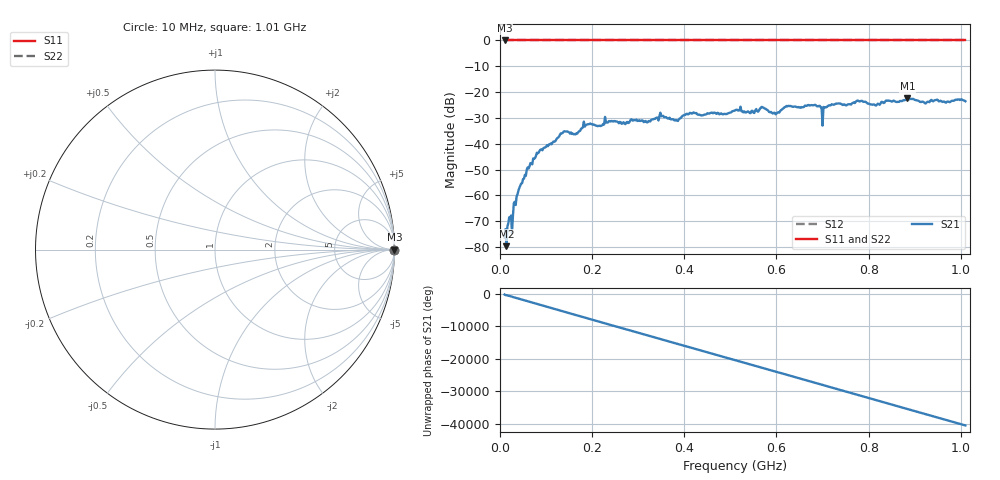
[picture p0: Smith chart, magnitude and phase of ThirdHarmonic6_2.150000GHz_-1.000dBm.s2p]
! 8/17/2025 1:40:35 AM
! C:\ANRITSUVNA\TEMP\TEMP.S2P
! CHANNEL.1
! TR.MEASUREMENT
! RAW.DATA
! RF.CORRECTION.OFF
! AVERAGING.OFF
! IF.BANDWIDTH: 5KHZ
! SWEEPTYPE:  FREQ.SWEEP(Linear)
! Reference Plane Port Info
! PORT:  PORT1  PORT2
! DISTANCE:  0  m  0  m
! TIME:  0  s  0  s
! PHASE.OFFSET:  0  deg.  0  deg.
! LOSS:  0  dB  0  dB
! REF.LOSS:  0  dB  0  dB
! REF.FREQ:  0  Hz  0  Hz
! Power Info
! POWER:  -20  dBm  -20  dBm
! EFF.POWER:  -20  dBm  -20  dBm
! SOURCE.ATTEN:  0  dB  0  dB
! TEST.ATTEN:  0  dB  0  dB
# GHZ S RI R 50.0
! FREQ.GHZ  S11RE  S11IM  S21RE  S21IM  S12RE  S12IM  S22RE  S22IM
!; PortSelection: Port_12
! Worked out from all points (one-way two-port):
!   501 points, 10 MHz to 1.01 GHz, reference 50 ohm
!   highest |S21| = -22.39 dB at 884 MHz (marker M1); lowest = -79.6 dB at 14 MHz (marker M2)
!   lowest |S11| = 0.0 dB at 10 MHz (marker M3)
!   |S11| at or under -10 dB: nowhere
!   |S22| runs from 0.0 to 0.0 dB; largest |S21 - S12| = 1.1
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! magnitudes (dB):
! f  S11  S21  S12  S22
! 10 MHz  0.0  -76.3  0.0  0.0
! 14 MHz  0.0  -79.6  0.0  0.0
! 20 MHz  0.0  -68.4  0.0  0.0
! 30 MHz  0.0  -63.1  0.0  0.0
! 42 MHz  0.0  -57.0  0.0  0.0
! 76 MHz  0.0  -45.5  0.0  0.0
! 136 MHz  0.0  -35.8  0.0  0.0
! 164 MHz  0.0  -36.3  0.0  0.0
! 178 MHz  0.0  -34.0  0.0  0.0
! 344 MHz  0.0  -31.0  0.0  0.0
! 382 MHz  0.0  -30.8  0.0  0.0
! 416 MHz  0.0  -28.3  0.0  0.0
! 510 MHz  0.0  -27.1  0.0  0.0
! 570 MHz  0.0  -25.9  0.0  0.0
! 596 MHz  0.0  -28.0  0.0  0.0
! 624 MHz  0.0  -25.5  0.0  0.0
! 678 MHz  0.0  -25.1  0.0  0.0
! 704 MHz  0.0  -26.0  0.0  0.0
! 732 MHz  0.0  -24.5  0.0  0.0
! 844 MHz  0.0  -23.3  0.0  0.0
! 884 MHz  0.0  -22.4  0.0  0.0
! 1.01 GHz  0.0  -23.5  0.0  0.0
